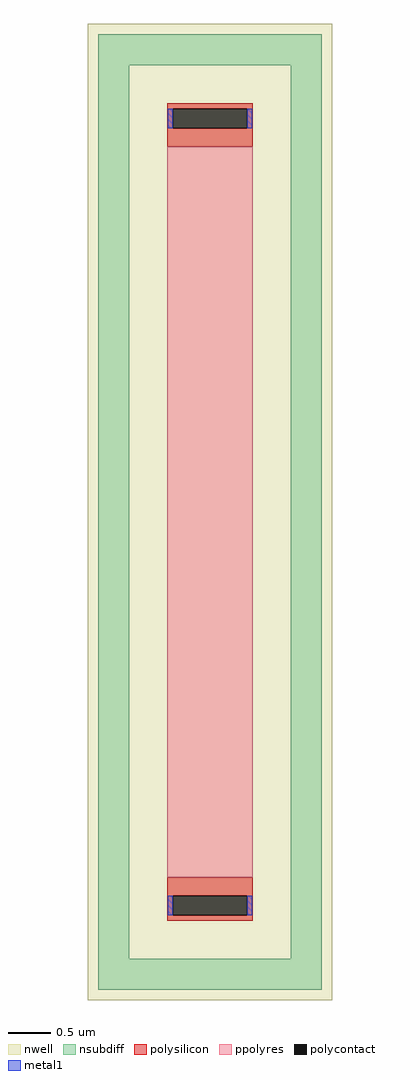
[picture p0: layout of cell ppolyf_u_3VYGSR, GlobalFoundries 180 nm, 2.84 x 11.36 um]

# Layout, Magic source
magic
tech gf180mcuC
magscale 1 10
<< nwell >>
rect -284 -1136 284 1136
<< nsubdiff >>
rect -260 1040 260 1112
rect -260 -1040 -188 1040
rect 188 -1040 260 1040
rect -260 -1112 260 -1040
<< polysilicon >>
rect -100 939 100 952
rect -100 893 -87 939
rect 87 893 100 939
rect -100 850 100 893
rect -100 -893 100 -850
rect -100 -939 -87 -893
rect 87 -939 100 -893
rect -100 -952 100 -939
<< polycontact >>
rect -87 893 87 939
rect -87 -939 87 -893
<< ppolyres >>
rect -100 -850 100 850
<< metal1 >>
rect -98 893 -87 939
rect 87 893 98 939
rect -98 -939 -87 -893
rect 87 -939 98 -893
<< properties >>
string FIXED_BBOX -224 -1076 224 1076
string gencell ppolyf_u
string library gf180mcu
string parameters w 1.0 l 8.5 m 1 nx 1 wmin 0.80 lmin 1.00 rho 315 val 2.879k dummy 0 dw 0.07 term 0.0 sterm 0.0 caplen 0.4 snake 0 glc 0 grc 0 gtc 0 gbc 0 roverlap 0 endcov 100 full_metal 0
<< end >>
